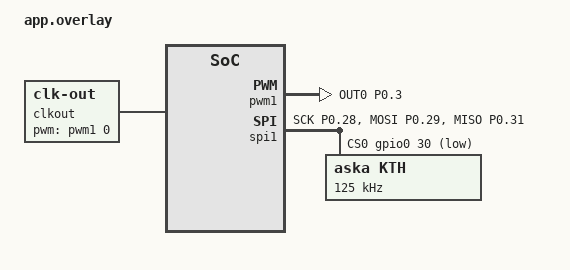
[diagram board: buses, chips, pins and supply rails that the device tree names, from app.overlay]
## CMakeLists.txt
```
#
# Copyright (c) 2018 Nordic Semiconductor
#
# SPDX-License-Identifier: LicenseRef-Nordic-5-Clause
#
cmake_minimum_required(VERSION 3.20.0)

find_package(Zephyr REQUIRED HINTS $ENV{ZEPHYR_BASE})
project(NONE)

FILE(GLOB app_sources src/*.c)
# NORDIC SDK APP START
target_sources(app PRIVATE ${app_sources})
#target_sources(app PRIVATE
#  src/main.c
#)

# NORDIC SDK APP END
```

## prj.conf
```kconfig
#
# Copyright (c) 2018 Nordic Semiconductor
#
# SPDX-License-Identifier: LicenseRef-Nordic-5-Clause
#

# Enable the UART driver
CONFIG_UART_ASYNC_API=y
CONFIG_NRFX_UARTE0=y
CONFIG_SERIAL=y

CONFIG_GPIO=y

# Make sure printk is printing to the UART console
CONFIG_CONSOLE=y
CONFIG_UART_CONSOLE=y

CONFIG_HEAP_MEM_POOL_SIZE=2048

CONFIG_BT=y
CONFIG_BT_PERIPHERAL=y
CONFIG_BT_DEVICE_NAME="Nordic_UART_Service"
CONFIG_BT_MAX_CONN=1
CONFIG_BT_MAX_PAIRED=1

# Enable the NUS service
# STEP 1 - Enable the Kconfig symbol of the NUS service
CONFIG_BT_NUS=y

# Enable bonding
CONFIG_BT_SETTINGS=y
CONFIG_FLASH=y
CONFIG_FLASH_PAGE_LAYOUT=y
CONFIG_FLASH_MAP=y

# Enable DK LED and Buttons library
CONFIG_DK_LIBRARY=y

# This example requires more stack
CONFIG_MAIN_STACK_SIZE=1152
CONFIG_SYSTEM_WORKQUEUE_STACK_SIZE=2048

# Config logger
CONFIG_LOG=y
CONFIG_USE_SEGGER_RTT=y
CONFIG_LOG_BACKEND_RTT=y
CONFIG_LOG_BACKEND_UART=n
CONFIG_LOG_PRINTK=n

CONFIG_ASSERT=y

#SAUL
CONFIG_PWM=y
CONFIG_LED=y
CONFIG_LED_PWM=y
CONFIG_SPI=y
```

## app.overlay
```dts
/*
 * Copyright (c) 2022 Nordic Semiconductor ASA
 *
 * SPDX-License-Identifier: LicenseRef-Nordic-5-Clause
 */

/ {
	chosen {
		nordic,nus-uart = &uart0;
	};
};


/ {
    clkout: clkout {
        compatible = "clk-out";
        pwms = <&pwm1 0 PWM_USEC(50) PWM_POLARITY_NORMAL>;
        min-pulse = <PWM_USEC(25)>;
        max-pulse = <PWM_USEC(25)>;
    };
};

&pwm1 {
    status = "okay";
    pinctrl-0 = <&pwm1_custom_clk>;
    pinctrl-1 = <&pwm1_csleep_clk>;
    pinctrl-names = "default", "sleep";
};

&pinctrl {
    pwm1_custom_clk: pwm1_custom_clk {
        group1 {
            psels = <NRF_PSEL(PWM_OUT0, 0, 3)>;
            nordic,invert;
        };
    };
    pwm1_csleep_clk: pwm1_csleep_clk {
        group1 {
            psels = <NRF_PSEL(PWM_OUT0, 0, 3)>;
            low-power-enable;
        };
    };
};

&i2c0 { status = "disabled";};
&spi0 { status = "disabled";};
&i2c1 { status = "disabled";}; 

&spi1 {
    compatible = "nordic,nrf-spim";
    status = "okay";
    pinctrl-0 = <&spi1_default>;
    pinctrl-1 = <&spi1_sleep>;
    pinctrl-names = "default", "sleep";
    cs-gpios = <&gpio0 30 GPIO_ACTIVE_LOW>;
        aska: aska@0 {
        compatible = "aska,kth";
        reg = <0>;
        spi-max-frequency = <125000>;
    };
};

&pinctrl {
    spi1_default: spi1_default {
        group1 {
            psels = <NRF_PSEL(SPIM_SCK, 0, 28)>,					 
                    <NRF_PSEL(SPIM_MOSI, 0, 29)>,
                    <NRF_PSEL(SPIM_MISO, 0, 31)>;
        };
    };
    spi1_sleep: spi1_sleep {
        group1 {
            psels = <NRF_PSEL(SPIM_SCK, 0, 28)>,
                    <NRF_PSEL(SPIM_MOSI, 0, 29)>,
                    <NRF_PSEL(SPIM_MISO, 0, 31)>;
            low-power-enable;
        };
    };
};
```

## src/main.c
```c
/*
 * Copyright (c) 2018 Nordic Semiconductor ASA
 *
 * SPDX-License-Identifier: LicenseRef-Nordic-5-Clause
 */

/** @file
 *  @brief Nordic UART Bridge Service (NUS) sample
 */
#include <uart_async_adapter.h>

#include <zephyr/types.h>
#include <zephyr/kernel.h>
#include <zephyr/drivers/uart.h>
#include <zephyr/usb/usb_device.h>

#include <zephyr/device.h>
#include <zephyr/devicetree.h>
#include <soc.h>

#include <zephyr/bluetooth/bluetooth.h>
#include <zephyr/bluetooth/uuid.h>
#include <zephyr/bluetooth/gatt.h>
#include <zephyr/bluetooth/hci.h>

#include <bluetooth/services/nus.h>

#include <dk_buttons_and_leds.h>

#include <zephyr/settings/settings.h>

#include <stdio.h>
#include <string.h>

#include <zephyr/logging/log.h>

#include "pwm_clk.h"
#include "aska.h"

#define LOG_MODULE_NAME peripheral_uart
LOG_MODULE_REGISTER(LOG_MODULE_NAME);

#define STACKSIZE CONFIG_BT_NUS_THREAD_STACK_SIZE
#define PRIORITY  7

#define DEVICE_NAME	CONFIG_BT_DEVICE_NAME
#define DEVICE_NAME_LEN (sizeof(DEVICE_NAME) - 1)

#define RUN_STATUS_LED	       DK_LED1
#define RUN_LED_BLINK_INTERVAL 1000

#define CON_STATUS_LED DK_LED2

#define KEY_PASSKEY_ACCEPT DK_BTN1_MSK
#define KEY_PASSKEY_REJECT DK_BTN2_MSK

#define UART_BUF_SIZE		CONFIG_BT_NUS_UART_BUFFER_SIZE
#define UART_WAIT_FOR_BUF_DELAY K_MSEC(50)
#define UART_WAIT_FOR_RX	CONFIG_BT_NUS_UART_RX_WAIT_TIME

static K_SEM_DEFINE(ble_init_ok, 0, 1);

static struct bt_conn *current_conn;
static struct bt_conn *auth_conn;
static struct k_work adv_work;

static const struct device *uart = DEVICE_DT_GET(DT_CHOSEN(nordic_nus_uart));
static struct k_work_delayable uart_work;

/* STEP 6.2 - Declare the struct of the data item of the FIFOs */
struct uart_data_t {
	void *fifo_reserved;
	uint8_t data[UART_BUF_SIZE];
	uint16_t len;
};

/* STEP 6.1 - Declare the FIFOs */
static K_FIFO_DEFINE(fifo_uart_tx_data); 
static K_FIFO_DEFINE(fifo_uart_rx_data);

static const struct bt_data ad[] = {
	BT_DATA_BYTES(BT_DATA_FLAGS, (BT_LE_AD_GENERAL | BT_LE_AD_NO_BREDR)),
	BT_DATA(BT_DATA_NAME_COMPLETE, DEVICE_NAME, DEVICE_NAME_LEN),
};

static const struct bt_data sd[] = {
	BT_DATA_BYTES(BT_DATA_UUID128_ALL, BT_UUID_NUS_VAL),
};

#ifdef CONFIG_UART_ASYNC_ADAPTER
UART_ASYNC_ADAPTER_INST_DEFINE(async_adapter);
#else
#define async_adapter NULL
#endif

static void uart_cb(const struct device *dev, struct uart_event *evt, void *user_data)
{
	ARG_UNUSED(dev);

	static size_t aborted_len;
	struct uart_data_t *buf;
	static uint8_t *aborted_buf;
	static bool disable_req;

	switch (evt->type) {
	case UART_TX_DONE:
		LOG_DBG("UART_TX_DONE");
		if ((evt->data.tx.len == 0) || (!evt->data.tx.buf)) {
			return;
		}

		if (aborted_buf) {
			buf = CONTAINER_OF(aborted_buf, struct uart_data_t, data[0]);
			aborted_buf = NULL;
			aborted_len = 0;
		} else {
			buf = CONTAINER_OF(evt->data.tx.buf, struct uart_data_t, data[0]);
		}

		k_free(buf);

		buf = k_fifo_get(&fifo_uart_tx_data, K_NO_WAIT);
		if (!buf) {
			return;
		}

		if (uart_tx(uart, buf->data, buf->len, SYS_FOREVER_MS)) {
			LOG_WRN("Failed to send data over UART");
		}

		break;

	case UART_RX_RDY:
		LOG_DBG("UART_RX_RDY");
		buf = CONTAINER_OF(evt->data.rx.buf, struct uart_data_t, data[0]);
		buf->len += evt->data.rx.len;

		if (disable_req) {
			return;
		}

		if ((evt->data.rx.buf[buf->len - 1] == '\n') ||
		    (evt->data.rx.buf[buf->len - 1] == '\r')) {
			disable_req = true;
			uart_rx_disable(uart);
		}

		break;

	case UART_RX_DISABLED:
		LOG_DBG("UART_RX_DISABLED");
		disable_req = false;

		buf = k_malloc(sizeof(*buf));
		if (buf) {
			buf->len = 0;
		} else {
			LOG_WRN("Not able to allocate UART receive buffer");
			k_work_reschedule(&uart_work, UART_WAIT_FOR_BUF_DELAY);
			return;
		}

		uart_rx_enable(uart, buf->data, sizeof(buf->data), UART_WAIT_FOR_RX);

		break;

	case UART_RX_BUF_REQUEST:
		LOG_DBG("UART_RX_BUF_REQUEST");
		buf = k_malloc(sizeof(*buf));
		if (buf) {
			buf->len = 0;
			uart_rx_buf_rsp(uart, buf->data, sizeof(buf->data));
		} else {
			LOG_WRN("Not able to allocate UART receive buffer");
		}

		break;

	case UART_RX_BUF_RELEASED:
		LOG_DBG("UART_RX_BUF_RELEASED");
		buf = CONTAINER_OF(evt->data.rx_buf.buf, struct uart_data_t, data[0]);

		if (buf->len > 0) {
			/* STEP 9.1 -  Push the data received from the UART peripheral into the
			 * fifo_uart_rx_data FIFO */
			k_fifo_put(&fifo_uart_rx_data, buf);

		} else {
			k_free(buf);
		}

		break;

	case UART_TX_ABORTED:
		LOG_DBG("UART_TX_ABORTED");
		if (!aborted_buf) {
			aborted_buf = (uint8_t *)evt->data.tx.buf;
		}

		aborted_len += evt->data.tx.len;
		buf = CONTAINER_OF((void *)aborted_buf, struct uart_data_t, data);

		uart_tx(uart, &buf->data[aborted_len], buf->len - aborted_len, SYS_FOREVER_MS);

		break;

	default:
		break;
	}
}

static void uart_work_handler(struct k_work *item)
{
	struct uart_data_t *buf;

	buf = k_malloc(sizeof(*buf));
	if (buf) {
		buf->len = 0;
	} else {
		LOG_WRN("Not able to allocate UART receive buffer");
		k_work_reschedule(&uart_work, UART_WAIT_FOR_BUF_DELAY);
		return;
	}

	uart_rx_enable(uart, buf->data, sizeof(buf->data), UART_WAIT_FOR_RX);
}

static bool uart_test_async_api(const struct device *dev)
{
	const struct uart_driver_api *api = (const struct uart_driver_api *)dev->api;

	return (api->callback_set != NULL);
}

static int uart_init(void)
{
	int err;
	int pos;
	struct uart_data_t *rx;
	struct uart_data_t *tx;

	if (!device_is_ready(uart)) {
		return -ENODEV;
	}

	if (IS_ENABLED(CONFIG_USB_DEVICE_STACK)) {
		err = usb_enable(NULL);
		if (err && (err != -EALREADY)) {
			LOG_ERR("Failed to enable USB");
			return err;
		}
	}

	rx = k_malloc(sizeof(*rx));
	if (rx) {
		rx->len = 0;
	} else {
		return -ENOMEM;
	}

	k_work_init_delayable(&uart_work, uart_work_handler);

	if (IS_ENABLED(CONFIG_UART_ASYNC_ADAPTER) && !uart_test_async_api(uart)) {
		/* Implement API adapter */
		uart_async_adapter_init(async_adapter, uart);
		uart = async_adapter;
	}

	err = uart_callback_set(uart, uart_cb, NULL);
	if (err) {
		k_free(rx);
		LOG_ERR("Cannot initialize UART callback");
		return err;
	}

	if (IS_ENABLED(CONFIG_UART_LINE_CTRL)) {
		LOG_INF("Wait for DTR");
		while (true) {
			uint32_t dtr = 0;

			uart_line_ctrl_get(uart, UART_LINE_CTRL_DTR, &dtr);
			if (dtr) {
				break;
			}
			/* Give CPU resources to low priority threads. */
			k_sleep(K_MSEC(100));
		}
		LOG_INF("DTR set");
		err = uart_line_ctrl_set(uart, UART_LINE_CTRL_DCD, 1);
		if (err) {
			LOG_WRN("Failed to set DCD, ret code %d", err);
		}
		err = uart_line_ctrl_set(uart, UART_LINE_CTRL_DSR, 1);
		if (err) {
			LOG_WRN("Failed to set DSR, ret code %d", err);
		}
	}

	tx = k_malloc(sizeof(*tx));

	if (tx) {
		pos = snprintf(tx->data, sizeof(tx->data),
			       "Starting Nordic UART service example\r\n");

		if ((pos < 0) || (pos >= sizeof(tx->data))) {
			k_free(rx);
			k_free(tx);
			LOG_ERR("snprintf returned %d", pos);
			return -ENOMEM;
		}

		tx->len = pos;
	} else {
		k_free(rx);
		return -ENOMEM;
	}

	err = uart_tx(uart, tx->data, tx->len, SYS_FOREVER_MS);
	if (err) {
		k_free(rx);
		k_free(tx);
		LOG_ERR("Cannot display welcome message (err: %d)", err);
		return err;
	}

	err = uart_rx_enable(uart, rx->data, sizeof(rx->data), UART_WAIT_FOR_RX);
	if (err) {
		LOG_ERR("Cannot enable uart reception (err: %d)", err);
		/* Free the rx buffer only because the tx buffer will be handled in the callback */
		k_free(rx);
	}

	return err;
}

static void adv_work_handler(struct k_work *work)
{
	int err = bt_le_adv_start(BT_LE_ADV_CONN_FAST_2, ad, ARRAY_SIZE(ad), sd, ARRAY_SIZE(sd));

	if (err) {
		printk("Advertising failed to start (err %d)\n", err);
		return;
	}

	printk("Advertising successfully started\n");
}

static void advertising_start(void)
{
	k_work_submit(&adv_work);
}

static void connected(struct bt_conn *conn, uint8_t err)
{
	char addr[BT_ADDR_LE_STR_LEN];

	if (err) {
		LOG_ERR("Connection failed, err 0x%02x ", err);
		return;
	}

	bt_addr_le_to_str(bt_conn_get_dst(conn), addr, sizeof(addr));
	LOG_INF("Connected %s", addr);

	current_conn = bt_conn_ref(conn);

	dk_set_led_on(CON_STATUS_LED);
}

static void disconnected(struct bt_conn *conn, uint8_t reason)
{
	char addr[BT_ADDR_LE_STR_LEN];

	bt_addr_le_to_str(bt_conn_get_dst(conn), addr, sizeof(addr));

	LOG_INF("Disconnected: %s, reason 0x%02x", addr, reason);

	if (auth_conn) {
		bt_conn_unref(auth_conn);
		auth_conn = NULL;
	}

	if (current_conn) {
		bt_conn_unref(current_conn);
		current_conn = NULL;
		dk_set_led_off(CON_STATUS_LED);
	}
}

static void recycled_cb(void)
{
	printk("Connection object available from previous conn. Disconnect is complete!\n");
	advertising_start();
}

#ifdef CONFIG_BT_NUS_SECURITY_ENABLED
static void security_changed(struct bt_conn *conn, bt_security_t level, enum bt_security_err err)
{
	char addr[BT_ADDR_LE_STR_LEN];

	bt_addr_le_to_str(bt_conn_get_dst(conn), addr, sizeof(addr));

	if (!err) {
		LOG_INF("Security changed: %s level %u", addr, level);
	} else {
		LOG_WRN("Security failed: %s level %u err %d", addr, level, err);
	}
}
#endif

BT_CONN_CB_DEFINE(conn_callbacks) = {
	.connected = connected,
	.disconnected = disconnected,
	.recycled = recycled_cb,
#ifdef CONFIG_BT_NUS_SECURITY_ENABLED
	.security_changed = security_changed,
#endif
};

#if defined(CONFIG_BT_NUS_SECURITY_ENABLED)
static void auth_passkey_display(struct bt_conn *conn, unsigned int passkey)
{
	char addr[BT_ADDR_LE_STR_LEN];

	bt_addr_le_to_str(bt_conn_get_dst(conn), addr, sizeof(addr));

	LOG_INF("Passkey for %s: %06u", addr, passkey);
}

static void auth_passkey_confirm(struct bt_conn *conn, unsigned int passkey)
{
	char addr[BT_ADDR_LE_STR_LEN];

	auth_conn = bt_conn_ref(conn);

	bt_addr_le_to_str(bt_conn_get_dst(conn), addr, sizeof(addr));

	LOG_INF("Passkey for %s: %06u", addr, passkey);

	if (IS_ENABLED(CONFIG_SOC_SERIES_NRF54HX) || IS_ENABLED(CONFIG_SOC_SERIES_NRF54LX)) {
		LOG_INF("Press Button 0 to confirm, Button 1 to reject.");
	} else {
		LOG_INF("Press Button 1 to confirm, Button 2 to reject.");
	}
}

static void auth_cancel(struct bt_conn *conn)
{
	char addr[BT_ADDR_LE_STR_LEN];

	bt_addr_le_to_str(bt_conn_get_dst(conn), addr, sizeof(addr));

	LOG_INF("Pairing cancelled: %s", addr);
}

static void pairing_complete(struct bt_conn *conn, bool bonded)
{
	char addr[BT_ADDR_LE_STR_LEN];

	bt_addr_le_to_str(bt_conn_get_dst(conn), addr, sizeof(addr));

	LOG_INF("Pairing completed: %s, bonded: %d", addr, bonded);
}

static void pairing_failed(struct bt_conn *conn, enum bt_security_err reason)
{
	char addr[BT_ADDR_LE_STR_LEN];

	bt_addr_le_to_str(bt_conn_get_dst(conn), addr, sizeof(addr));

	LOG_INF("Pairing failed conn: %s, reason %d", addr, reason);
}

static struct bt_conn_auth_cb conn_auth_callbacks = {
	.passkey_display = auth_passkey_display,
	.passkey_confirm = auth_passkey_confirm,
	.cancel = auth_cancel,
};

static struct bt_conn_auth_info_cb conn_auth_info_callbacks = {.pairing_complete = pairing_complete,
							       .pairing_failed = pairing_failed};
#else
static struct bt_conn_auth_cb conn_auth_callbacks;
static struct bt_conn_auth_info_cb conn_auth_info_callbacks;
#endif

static void bt_receive_cb(struct bt_conn *conn, const uint8_t *const data, uint16_t len)
{
	int err;
	char addr[BT_ADDR_LE_STR_LEN] = {0};

	bt_addr_le_to_str(bt_conn_get_dst(conn), addr, ARRAY_SIZE(addr));

	LOG_INF("Received data from: %s", addr);

	/* SAUL CODE STARTS HERE*/
	
	/*
	char aux[20];

	
	for (int i = 0; i < len; i++) {
		aux[i] = data[i];
		printk("0x%X\n",aux[i]);
	}
	*/

	ASKA_getCommand(data,len);
	ASKA_sendCommand();

	/* SAUL CODE ENDS HERE */

	for (uint16_t pos = 0; pos != len;) {
		struct uart_data_t *tx = k_malloc(sizeof(*tx));

		if (!tx) {
			LOG_WRN("Not able to allocate UART send data buffer");
			return;
		}

		/* Keep the last byte of TX buffer for potential LF char. */
		size_t tx_data_size = sizeof(tx->data) - 1;

		if ((len - pos) > tx_data_size) {
			tx->len = tx_data_size;
		} else {
			tx->len = (len - pos);
		}

		memcpy(tx->data, &data[pos], tx->len);

		pos += tx->len;

		/* Append the LF character when the CR character triggered
		 * transmission from the peer.
		 */
		if ((pos == len) && (data[len - 1] == '\r')) {
			tx->data[tx->len] = '\n';
			tx->len++;
		}
		/* STEP 8.3 - Forward the data received over Bluetooth LE to the UART peripheral */
		err = uart_tx(uart, tx->data, tx->len, SYS_FOREVER_MS);
		if (err) {
			k_fifo_put(&fifo_uart_tx_data, tx);
		}
	}
}

/* STEP 8.1 - Create a variable of type bt_nus_cb and initialize it */
static struct bt_nus_cb nus_cb = {
 .received = bt_receive_cb,
};



void error(void)
{
	dk_set_leds_state(DK_ALL_LEDS_MSK, DK_NO_LEDS_MSK);

	while (true) {
		/* Spin for ever */
		k_sleep(K_MSEC(1000));
	}
}

#ifdef CONFIG_BT_NUS_SECURITY_ENABLED
static void num_comp_reply(bool accept)
{
	if (accept) {
		bt_conn_auth_passkey_confirm(auth_conn);
		LOG_INF("Numeric Match, conn %p", (void *)auth_conn);
	} else {
		bt_conn_auth_cancel(auth_conn);
		LOG_INF("Numeric Reject, conn %p", (void *)auth_conn);
	}

	bt_conn_unref(auth_conn);
	auth_conn = NULL;
}

void button_changed(uint32_t button_state, uint32_t has_changed)
{
	uint32_t buttons = button_state & has_changed;

	if (auth_conn) {
		if (buttons & KEY_PASSKEY_ACCEPT) {
			num_comp_reply(true);
		}

		if (buttons & KEY_PASSKEY_REJECT) {
			num_comp_reply(false);
		}
	}
}
#endif /* CONFIG_BT_NUS_SECURITY_ENABLED */

static void configure_gpio(void)
{
	int err;

#ifdef CONFIG_BT_NUS_SECURITY_ENABLED
	err = dk_buttons_init(button_changed);
	if (err) {
		LOG_ERR("Cannot init buttons (err: %d)", err);
	}
#endif /* CONFIG_BT_NUS_SECURITY_ENABLED */

	err = dk_leds_init();
	if (err) {
		LOG_ERR("Cannot init LEDs (err: %d)", err);
	}
}

int main(void)
{
	int blink_status = 0;
	int err = 0;

	configure_gpio();
	/* STEP 7 - Initialize the UART Peripheral  */
	err = uart_init();
 	if (err) {
 		error();
 	}

	if (IS_ENABLED(CONFIG_BT_NUS_SECURITY_ENABLED)) {
		err = bt_conn_auth_cb_register(&conn_auth_callbacks);
		if (err) {
			printk("Failed to register authorization callbacks.\n");
			return 0;
		}

		err = bt_conn_auth_info_cb_register(&conn_auth_info_callbacks);
		if (err) {
			printk("Failed to register authorization info callbacks.\n");
			return 0;
		}
	}

	err = bt_enable(NULL);
	if (err) {
		error();
	}

	LOG_INF("Bluetooth initialized");

	k_sem_give(&ble_init_ok);

	if (IS_ENABLED(CONFIG_SETTINGS)) {
		settings_load();
	}
	/* STEP 8.2 - Pass your application callback function to the NUS service */
	err = bt_nus_init(&nus_cb);
 	if (err) {
 		LOG_ERR("Failed to initialize UART service (err: %d)", err);
 	    return 0;
 	}

	k_work_init(&adv_work, adv_work_handler);
	advertising_start();

	/*SAUL CODE STARTS HERE*/
	err = pwm_clk_setup();
    if (!err) {
        LOG_ERR("Error: PWM_CLK device %s is not ready");
    } else {
        pwm_clk_start();
    }

	err = ASKA_spi_setup();

	/*SAUL CODE ENDS HERE */
	for (;;) {
		dk_set_led(RUN_STATUS_LED, (++blink_status) % 2);
		k_sleep(K_MSEC(RUN_LED_BLINK_INTERVAL));
		//ASKA_test();
	}
}
/* STEP 9.3 - Define the thread function  */
void ble_write_thread(void)
{
	/* Don't go any further until BLE is initialized */
	k_sem_take(&ble_init_ok, K_FOREVER);
	struct uart_data_t nus_data = {
		.len = 0,
	};

	for (;;) {
		/* Wait indefinitely for data to be sent over bluetooth */
		struct uart_data_t *buf = k_fifo_get(&fifo_uart_rx_data,
						     K_FOREVER);

							 /* SAULS CODE REMOVED START HERE
							 // This code was removed so that any data coming from the uart is immediately
							 // sent through ble

		int plen = MIN(sizeof(nus_data.data) - nus_data.len, buf->len);
		int loc = 0;

		while (plen > 0) {
			memcpy(&nus_data.data[nus_data.len], &buf->data[loc], plen);
			nus_data.len += plen;
			loc += plen;

			if (nus_data.len >= sizeof(nus_data.data) ||
			   (nus_data.data[nus_data.len - 1] == '\n') ||
			   (nus_data.data[nus_data.len - 1] == '\r')) {
				if (bt_nus_send(NULL, nus_data.data, nus_data.len)) {
					LOG_WRN("Failed to send data over BLE connection");
				}
				nus_data.len = 0;
			}

			plen = MIN(sizeof(nus_data.data), buf->len - loc);
		} 
			SAULS CODE REMOVED ENDS HERE*/

		bt_nus_send(NULL, buf->data, buf->len);

		k_free(buf);
	}
}


/* STEP 9.2 - Create a dedicated thread for sending the data over Bluetooth LE. */
K_THREAD_DEFINE(ble_write_thread_id, STACKSIZE, ble_write_thread, NULL, NULL, NULL, PRIORITY, 0, 0);
```

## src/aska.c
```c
#include "aska.h"

struct spi_dt_spec spispec = SPI_DT_SPEC_GET(DT_NODELABEL(aska), SPIOP, 0);

const uint8_t ASKA_IC_add[4] = {
    IC_ADDRESS_0,
    IC_ADDRESS_1,
    IC_ADDRESS_2,
    IC_ADDRESS_3
}; 

ASKA_CONF ASKA_conf;

int ASKA_spi_setup()
{
    int err;

	err = spi_is_ready_dt(&spispec);
	if (!err) {
 		printk("Error: SPI device is not ready, err: %d", err);
 		return 0;
	}

	return 1;
}

int ASKA_spi_write_buff(void *bufferData, size_t bufferSize)
{
    int err;

	struct spi_buf	tx_spi_buf 		= {.buf = bufferData, .len = bufferSize};
	struct spi_buf_set tx_spi_buf_set	= {.buffers = &tx_spi_buf, .count = 1};

	err = spi_write_dt(&spispec, &tx_spi_buf_set);
	if (err < 0) {
 		printk("spi_write_dt() failed, err %d", err);
 		return err;
	}

	return 0;
}

void ASKA_write_reg(uint8_t IC_addr ,uint8_t add, uint32_t value)
{
    uint8_t tx_buffer[5];
	
    tx_buffer[0] = add | IC_addr;
    
    tx_buffer[1] = (uint8_t)(value >> 24) & 0xff;
    tx_buffer[2] = (uint8_t)(value >> 16) & 0xff;
    tx_buffer[3] = (uint8_t)(value >> 8) & 0xff;
    tx_buffer[4] = (uint8_t)(value >> 0) & 0xff;

    ASKA_spi_write_buff(tx_buffer,5);
	//SPI_transaction(tx_buffer,5);
    //CS_SetLow();    
    //SPI1_WriteBlock(tx_buffer,5);
    //SPI1_BufferWrite(tx_buffer,5);    
    //CS_SetHigh();

}


void ASKA_test1(uint8_t ic_add)
{
        //Disable 
        //ASKA_write_reg(ic_add, ASKA_CONF1,0x00000000); 
		//new program
        /*
		ASKA_write_reg(ic_add, ASKA_ELE1,0x00008000);
		ASKA_write_reg(ic_add, ASKA_ELE2,0x00004000);
		ASKA_write_reg(ic_add, ASKA_CONF0,0x19672190);
		ASKA_write_reg(ic_add, ASKA_CONF1,0x00906420);
         */
        ASKA_write_reg(ic_add, ASKA_CONF1,0x00000000); 
		//new program
		
		ASKA_write_reg(ic_add, ASKA_CONF0,0x0a0147d0);
		ASKA_write_reg(ic_add, ASKA_CONF1,0x00907800);
        ASKA_write_reg(ic_add, ASKA_ELE1,0x00000001);
		ASKA_write_reg(ic_add, ASKA_ELE2,0x00000002);
        
}

void ASKA_test2(uint8_t ic_add)
{
        ASKA_write_reg(ic_add, ASKA_CONF1,0x00000000); 
		//new program
		
		ASKA_write_reg(ic_add, ASKA_CONF0,0x0a1727d0);
		ASKA_write_reg(ic_add, ASKA_CONF1,0x009028a0);
        ASKA_write_reg(ic_add, ASKA_ELE1,0x00000001);
		ASKA_write_reg(ic_add, ASKA_ELE2,0x00000002);
}

void ASKA_test3(uint8_t ic_add)
{
        ASKA_write_reg(ic_add, ASKA_CONF1,0x00000000); 
		//new program
		
		ASKA_write_reg(ic_add, ASKA_CONF0,0x32cb2190);
		ASKA_write_reg(ic_add, ASKA_CONF1,0x00925810);
        ASKA_write_reg(ic_add, ASKA_ELE1,0x00000001);
		ASKA_write_reg(ic_add, ASKA_ELE2,0x00000002);
}

void ASKA_test4(uint8_t ic_add)
{
        ASKA_write_reg(ic_add, ASKA_CONF1,0x00000000); 
		//new program
		
		ASKA_write_reg(ic_add, ASKA_CONF0,0x32c99190);
		ASKA_write_reg(ic_add, ASKA_CONF1,0x0090c808);
        ASKA_write_reg(ic_add, ASKA_ELE1,0x00000001);
		ASKA_write_reg(ic_add, ASKA_ELE2,0x00000002);
}

void ASKA_setProgram( 
        uint8_t ic_add, // 0x00,0x40,0x80,0xc0 (0-3)
        uint32_t freq, // [Hz] 5 - 50 Hz
        uint32_t amplitude, // [mA] 0 - 50 mA
        uint32_t ON_time, // [ds] 0 - 40 ds
        uint32_t OFF_time, //[ds] 0 - 120 ds
        uint32_t ramp_time, // ramptime in [ds]
        uint32_t enable,  // 1 or 0
        uint32_t phaseDuration, // 50 us (1) - 350 us (7) 
        uint32_t ele1,
        uint32_t ele2)
{
    ASKA_NMES_struct ASKA;   
    ASKA_CONF ASIC;
   
    
    // Number of 20 kHz cycles to generate freq
    ASKA.freq = (uint16_t)(BASE_FREQ/freq); 
    
    ASKA.amplitude = amplitude;
    
    // number of ON/OFF pulses 
    ASKA.ON_time = (freq*ON_time)/10;
    
    ASKA.OFF_time = (freq*OFF_time)/10;
    
    // number of pulses during ramp UP/DOWN 
    ASKA.ramp = (freq*ramp_time)/10;
            
    // ramp_factor
    if (ASKA.ramp > 0) {
        ASKA.ramp_factor = ((amplitude*16)/ASKA.ramp);
    } else {
        ASKA.ramp_factor = 0;
    }
        
    ASKA.enable = enable;    
    ASKA.phaseDuration = phaseDuration;    
    ASKA.ele1 = ele1;    
    ASKA.ele2 = ele2;
    
    ASIC.conf0 = 0;
    ASIC.conf1 = 0;
    ASIC.ele1 = 0;
    ASIC.ele2 = 0;
    
    ASIC.conf0 |= (ASKA.freq              & 0x00000fff);
    ASIC.conf0 |= ((ASKA.amplitude << 12) & 0x0003f000);
    ASIC.conf0 |= ((ASKA.ramp << 18)      & 0x00fc0000);
    ASIC.conf0 |= ((ASKA.ON_time << 24)   & 0xff000000);
    
    ASIC.conf1 |= (ASKA.ramp_factor             & 0x000003ff);
    ASIC.conf1 |= ((ASKA.OFF_time << 10)        & 0x000ffc00);
    ASIC.conf1 |= ((ASKA.enable << 20)          & 0x00100000);
    ASIC.conf1 |= ((ASKA.phaseDuration << 21)   & 0x00e00000);
    
    ASIC.ele1 = ASKA.ele1;
    ASIC.ele2 = ASKA.ele2;
    
    
    //Reprogram asic
    ASKA_write_reg(ic_add, ASKA_CONF1,0x00000000); 
    
    ASKA_write_reg(ic_add, ASKA_CONF0,ASIC.conf0);
	ASKA_write_reg(ic_add, ASKA_CONF1,ASIC.conf1);
    ASKA_write_reg(ic_add, ASKA_ELE1,ASIC.ele1);
	ASKA_write_reg(ic_add, ASKA_ELE2,ASIC.ele2);

    //printk("conf0 = 0x%X\n",ASIC.conf0);
    //printk("conf1 = 0x%X\n",ASIC.conf1);

    
}

void ASKA_test()
{
    uint8_t ic_add;

	ic_add = IC_ADDRESS_0;

    ASKA_setProgram(ic_add,50,50,10,30,10,1,4,1,2); //50 Hz, 50mA,1s/3s,ramp 1s, pd 200
    k_msleep(10000);

    ASKA_setProgram(ic_add,10,50,10,10,5,1,4,1,2); //10 Hz, 50mA,1s/1s,ramp 0.5s, pd 200
    k_msleep(10000);

    ASKA_setProgram(ic_add,50,25,10,30,10,1,4,1,2); //50 Hz, 50mA,1s/3s,ramp 1s, pd 200
    k_msleep(10000);

    ASKA_setProgram(ic_add,10,50,10,10,0,1,4,1,2); //10 Hz, 50mA,1s/1s,ramp 0s, pd 200
    k_msleep(10000);

}

void ASKA_getCommand(const uint8_t* data, uint16_t len)
{
    
    if (len != 18) {
        printk("ASKA_getCommand - incorrect packet size: %d\n",len);
        return;
    }

    // Check that command has been sent
    if (data[0] != 'w') {
        return;
    }

    uint8_t ic_add;

    // NOTE: Address should have been checked in app to be between 0-3!
    ic_add = data[1];

    ASKA_conf.ic_addr = ic_add;

    ASKA_conf.conf0 = 0;
    ASKA_conf.conf0 |= (uint32_t)(data[2]<<0);
    ASKA_conf.conf0 |= (uint32_t)(data[3]<<8);
    ASKA_conf.conf0 |= (uint32_t)(data[4]<<16);
    ASKA_conf.conf0 |= (uint32_t)(data[5]<<24);
    
    ASKA_conf.conf1 = 0;
    ASKA_conf.conf1 |= (uint32_t)(data[6]<<0);
    ASKA_conf.conf1 |= (uint32_t)(data[7]<<8);
    ASKA_conf.conf1 |= (uint32_t)(data[8]<<16);
    ASKA_conf.conf1 |= (uint32_t)(data[9]<<24);
    
    ASKA_conf.ele1 = 0;
    ASKA_conf.ele1 |= (uint32_t)(data[10]<<0);
    ASKA_conf.ele1 |= (uint32_t)(data[11]<<8);
    ASKA_conf.ele1 |= (uint32_t)(data[12]<<16);
    ASKA_conf.ele1 |= (uint32_t)(data[13]<<24);
    
    ASKA_conf.ele2 = 0;
    ASKA_conf.ele2 |= (uint32_t)(data[14]<<0);
    ASKA_conf.ele2 |= (uint32_t)(data[15]<<8);
    ASKA_conf.ele2 |= (uint32_t)(data[16]<<16);
    ASKA_conf.ele2 |= (uint32_t)(data[17]<<24);

    printk("ic add = 0x%x\n",ASKA_conf.ic_addr);
    printk("conf0 = 0x%x\n",ASKA_conf.conf0);
    printk("conf1 = 0x%x\n",ASKA_conf.conf1);
    printk("ele1 = 0x%x\n",ASKA_conf.ele1);
    printk("ele2 = 0x%x\n",ASKA_conf.ele2);

}

void ASKA_sendCommand()
{
     //Reprogram asic
    ASKA_write_reg(ASKA_conf.ic_addr, ASKA_CONF1,0x00000000); 
    
    ASKA_write_reg(ASKA_conf.ic_addr, ASKA_CONF0,ASKA_conf.conf0);
	ASKA_write_reg(ASKA_conf.ic_addr, ASKA_CONF1,ASKA_conf.conf1);
    ASKA_write_reg(ASKA_conf.ic_addr, ASKA_ELE1,ASKA_conf.ele1);
	ASKA_write_reg(ASKA_conf.ic_addr, ASKA_ELE2,ASKA_conf.ele2);

}

//Description: Helper function to convert an IC address 0-3 to
//             bit values ready to send via SPI.
//input: IC address 0-3, 
//output: converted address (1byte)
uint8_t ASKA_getICaddress(uint32_t address)
{
      if (address > 3) {
        return 0;
    } else {
        return ASKA_IC_add[address];
    }
}
```

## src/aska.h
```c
/* 
 * File:   aska.h
 * Author: saul
 *
 * Created on September 9, 2024, 12:40 PM
 */

#ifndef ASKA_H
#define	ASKA_H

#include <stdio.h>
#include <zephyr/kernel.h>
#include <zephyr/device.h>
#include <zephyr/devicetree.h>
#include <zephyr/drivers/gpio.h>
#include <zephyr/drivers/spi.h>
#include <zephyr/sys/printk.h>

#define SPIOP	SPI_WORD_SET(8) | SPI_TRANSFER_MSB

    
#define ASKA_CONF0 0x00
#define ASKA_CONF1 0x01
#define ASKA_ELE1  0x02
#define ASKA_ELE2  0x03

typedef enum {
    IC_ADDRESS_0 = 0x00,
    IC_ADDRESS_1 = 0x40,
    IC_ADDRESS_2 = 0x80,
    IC_ADDRESS_3 = 0xc0  
} ic_address_t;

/*    
#define IC_ADDRESS_0 0x00
#define IC_ADDRESS_1 0x40
#define IC_ADDRESS_2 0x80
#define IC_ADDRESS_3 0xc0  
 */  
    
#define BASE_FREQ 20000

/**********************************************/
    /* Configuration words bit mapping            */
    /*                                            */
    /* conf0:                                     */
    /*                                            */
    /* bits 31-24: [7:0] ON_time                  */
    /* bits 23-18: [5:0] ramp                     */
    /* bits 17-12: [5:0] amplitude                */
    /* bits 11-0:  [11:0] freq                    */
    /*                                            */
    /* conf1:                                     */
    /*                                            */
    /* bits 9-0: [9:0] ramp_factor                */
    /* bits 19-10: [9:0] OFF_time                 */
    /* bit 20: enable                             */
    /* bits 23-21: [2:0] phaseDuration            */
    /*                                            */
    /**********************************************/
    
    /*
    wire [5:0] amplitude; //0 - 50 mA
    wire [11:0] freq; // 4.88 Hz (4095) - 50 Hz (400) 
    wire [2:0] phaseDuration; // 50 us (1) - 350 us (7) 
    wire [5:0] ramp; // up to 1s (50 for 50 Hz) 
    wire [9:0] ramp_factor; //[1 - 1024] (amplitude/ramp*2^4)
    wire [7:0] ON_time; // up to 4s (in pulses, 200 for 50 Hz) 
    wire [9:0] OFF_time; // up to 12s (in pulses 600 for 50 Hz) 
     
    assign amplitude = conf0[17:12];
    assign freq = conf0[11:0];
    assign phaseDuration = conf1[23:21];
    assign ramp = conf0[23:18];
    assign ramp_factor = conf1[9:0];
    assign ON_time = conf0[31:24];
    assign OFF_time = conf1[19:10];
    assign enable = conf1[20];      
    
    
typedef struct ASKA_bits_struct {
    unsigned freq           :12;
    unsigned amplitude      :6;
    unsigned ramp           :6;
    unsigned ON_time        :8;
    
    unsigned ramp_factor    :10;
    unsigned OFF_time       :10;
    unsigned enable         :1;
    unsigned phaseDuration  :3;
    unsigned not_used       :8;
    
    unsigned ele1_bits      :32;
    
    unsigned ele2_bits      :32;
    
} ASKA_bits;   

 */
    
typedef struct ASKA_CONF_struct {
    uint32_t conf0;
    uint32_t conf1;
    uint32_t ele1;
    uint32_t ele2;
    uint8_t ic_addr;
} ASKA_CONF;

extern ASKA_CONF ASKA_conf;
/*
typedef struct ASKA_NMES_struct {
    uint16_t freq; //12 bits
    uint8_t amplitude; // 6 bits
    uint8_t ramp; // 6 bits
    uint8_t ON_time; // 8 bits
    
    uint16_t ramp_factor; //10 bits
    uint16_t OFF_time; //10 bits
    uint8_t enable; //1 bit
    uint8_t phaseDuration; //3bits
    
    uint32_t ele1; //32 bits
    uint32_t ele2; //32 bits
        
} ASKA_NMES_struct;
*/

typedef struct ASKA_NMES_struct {
    uint32_t freq; //12 bits
    uint32_t amplitude; // 6 bits
    uint32_t ramp; // 6 bits
    uint32_t ON_time; // 8 bits
    
    uint32_t ramp_factor; //10 bits
    uint32_t OFF_time; //10 bits
    uint32_t enable; //1 bit
    uint32_t phaseDuration; //3bits
    
    uint32_t ele1; //32 bits
    uint32_t ele2; //32 bits
        
} ASKA_NMES_struct;

int ASKA_spi_setup();
int ASKA_spi_write_buff(void *bufferData, size_t bufferSize);

void ASKA_write_reg(uint8_t IC_addr ,uint8_t add, uint32_t value);

void ASKA_test1(uint8_t ic_add);  // 10 Hz, 0s Ramp, ON 1s, OFF 3s, PD 200  
void ASKA_test2(uint8_t ic_add);  // 10 Hz, 0.5s Ramp, ON 1s, OFF 1s, PD 200
void ASKA_test3(uint8_t ic_add);  // 50H Hz, 1s ramp, ON 1s, OFF 3s, PD 200   
void ASKA_test4(uint8_t ic_add);  // 50 Hz, 1s ramp, ON 1s, OFF 1s, PD 200

void ASKA_test();

void ASKA_setProgram(
        uint8_t ic_add,
        uint32_t freq, 
        uint32_t amplitude, 
        uint32_t ON_time, // [ds]
        uint32_t OFF_time, //[ds]
        uint32_t ramp_time, // ramptime in [ds]
        uint32_t enable,  // 1 or 0
        uint32_t phaseDuration, // 50 us (1) - 350 us (7) 
        uint32_t ele1,
        uint32_t ele2);

//void ASKA_clearProgram();
//uint16_t ASKA_calculateRampFactor();

void ASKA_getCommand(const uint8_t* data, uint16_t len);
void ASKA_sendCommand();
uint8_t ASKA_getICaddress(uint32_t address);


#endif	/* ASKA_H */
```

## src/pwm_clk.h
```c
#ifndef PWM_CLK_H
#define PWM_CLK_H

#include <zephyr/kernel.h>
//#include <zephyr/logging/log.h>
#include <zephyr/device.h>
#include <zephyr/drivers/pwm.h>

#define CLK_OUT     DT_NODELABEL(clkout) 
//const struct pwm_dt_spec pwm_clk_out = PWM_DT_SPEC_GET(CLK_OUT);

#define PWM_CLK_MIN_PULSE_WIDTH    DT_PROP(CLK_OUT, min_pulse)
#define PWM_CLK_MAX_PULSE_WIDTH    DT_PROP(CLK_OUT, max_pulse)

#define PWM_CLK_PULSE_WIDTH PWM_USEC(25)
#define PWM_CLK_PERIOD   PWM_USEC(50)

int pwm_clk_setup();

int pwm_clk_start();

int pwm_clk_stop();


#endif
```
